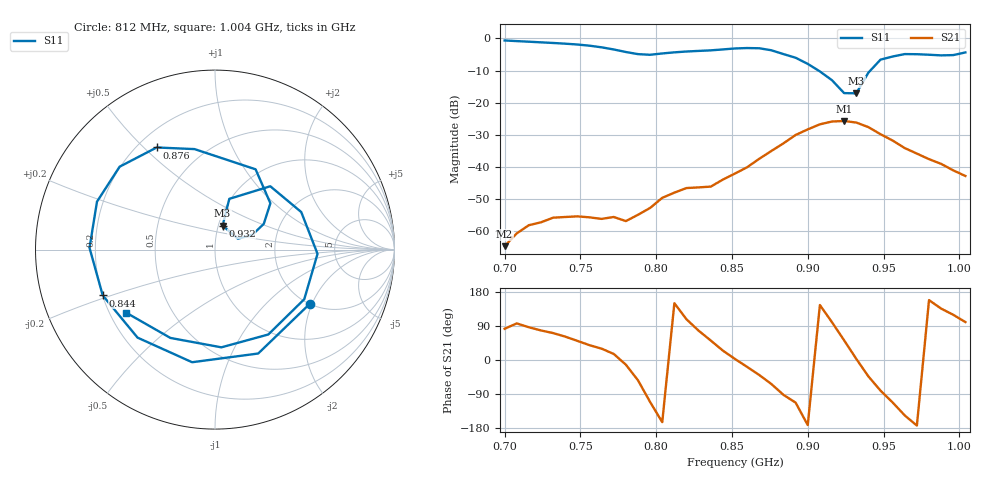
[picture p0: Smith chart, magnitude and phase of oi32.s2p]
# Hz S RI R 50
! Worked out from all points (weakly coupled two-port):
!   39 points, 700 MHz to 1.004 GHz, reference 50 ohm
!   highest |S21| = -25.69 dB at 924 MHz (marker M1); lowest = -64.6 dB at 700 MHz (marker M2)
!   lowest |S11| = -17.1 dB at 932 MHz (marker M3), VSWR 1.33, Z = 52.4 + j14.3 ohm
!   |S11| at or under -10 dB: 907.1 MHz to 941.3 MHz (34.12 MHz wide, 3.69 % of centre)
!   S12 and S22 are empty: the file has one direction only
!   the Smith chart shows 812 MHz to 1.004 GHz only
!   S11 on the Smith chart (normalised r, x): 812 MHz: 2.01, -1.93; 844 MHz: 0.20, -0.19; 876 MHz: 0.27, +0.55; 932 MHz: 1.05, +0.29; 1.004 GHz: 0.27, -0.30
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7e8  0.7648 0.5317  7.77e-05 0.000582  0 0  0 0
7.24e8  0.8304 -0.2622  0.000287 0.00135  0 0  0 0
7.4e8  0.4451 -0.7006  0.000793 0.00147  0 0  0 0
7.56e8  -0.1954 -0.7472  0.00128 0.00104  0 0  0 0
7.72e8  -0.6475 -0.1884  0.0016 0.000461  0 0  0 0
7.8e8  -0.5719 0.2286  0.00141 -0.000308  0 0  0 0
7.88e8  -0.2198 0.5268  0.00107 -0.00145  0 0  0 0
7.96e8  0.2591 0.4936  -0.000822 -0.00216  0 0  0 0
8.04e8  0.5671 0.1416  -0.00319 -0.00091  0 0  0 0
8.12e8  0.5284 -0.3018  -0.00345 0.002  0 0  0 0
8.28e8  -0.1275 -0.6275  0.00105 0.0047  0 0  0 0
8.44e8  -0.6255 -0.2554  0.00578 0.00267  0 0  0 0
8.52e8  -0.6991 0.00961  0.00791 0.000367  0 0  0 0
8.76e8  -0.325 0.569  0.00796 -0.0159  0 0  0 0
8.92e8  0.2262 0.4473  -0.0121 -0.0291  0 0  0 0
9.08e8  0.2718 0.1432  -0.0379 0.0264  0 0  0 0
9.24e8  0.1274 0.0608  0.0321 0.0409  0 0  0 0
9.32e8  0.0424 0.1337  0.0491 0.00261  0 0  0 0
9.48e8  0.308 0.353  0.00519 -0.032  0 0  0 0
9.56e8  0.4805 0.2093  -0.00971 -0.0239  0 0  0 0
9.8e8  0.2968 -0.473  -0.0123 0.00495  0 0  0 0
1.004e9  -0.4938 -0.3521  -0.00127 0.00714  0 0  0 0
